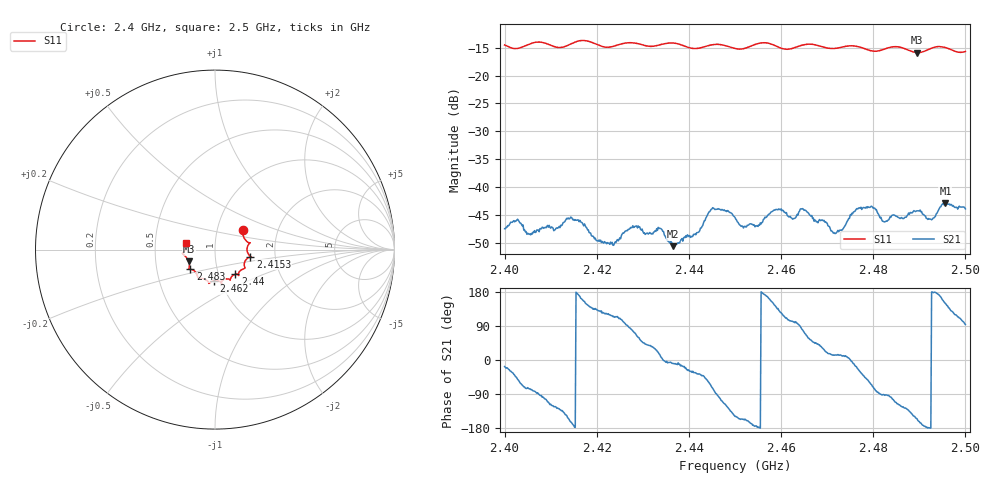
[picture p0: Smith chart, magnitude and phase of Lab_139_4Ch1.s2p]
# Hz S RI R 50
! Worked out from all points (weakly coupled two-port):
!   601 points, 2.4 GHz to 2.5 GHz, reference 50 ohm
!   highest |S21| = -42.94 dB at 2.4957 GHz (marker M1); lowest = -50.6 dB at 2.4365 GHz (marker M2)
!   lowest |S11| = -15.9 dB at 2.4895 GHz (marker M3), VSWR 1.38, Z = 36.9 - j5.01 ohm
!   |S11| at or under -10 dB: start of sweep to end of sweep
!   S12 and S22 are empty: the file has one direction only
!   S11 on the Smith chart (normalised r, x): 2.4 GHz: 1.33, +0.29; 2.4153 GHz: 1.48, -0.12; 2.44 GHz: 1.21, -0.34; 2.462 GHz: 0.93, -0.33; 2.483 GHz: 0.74, -0.17; 2.5 GHz: 0.72, +0.06
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2.4e9  0.1552 0.1066  0.00402 -0.00125  0 0  0 0
2.415333e9  0.1962 -0.0386  -0.00508 -0.000181  0 0  0 0
2.416667e9  0.2017 -0.0424  -0.00456 0.00149  0 0  0 0
2.423167e9  0.1631 -0.0781  -0.00141 0.00275  0 0  0 0
2.427833e9  0.1673 -0.1034  0.00104 0.00436  0 0  0 0
2.433333e9  0.1311 -0.1335  0.00406 0.0015  0 0  0 0
2.4365e9  0.1328 -0.1443  0.0029 -0.000455  0 0  0 0
2.44e9  0.1142 -0.1366  0.0032 -0.00159  0 0  0 0
2.445167e9  0.0846 -0.1693  0.00171 -0.00627  0 0  0 0
2.45e9  0.0645 -0.1628  -0.00455 -0.00274  0 0  0 0
2.452e9  0.044 -0.1691  -0.00409 -0.00164  0 0  0 0
2.459e9  0.0308 -0.1807  -0.00468 0.00417  0 0  0 0
2.462e9  -0.00514 -0.1734  -0.00125 0.00529  0 0  0 0
2.466667e9  -0.0343 -0.1877  0.00353 0.00427  0 0  0 0
2.471667e9  -0.0661 -0.1621  0.00371 0.000884  0 0  0 0
2.476833e9  -0.0958 -0.1539  0.0058 -0.00286  0 0  0 0
2.483e9  -0.1375 -0.1097  -0.000234 -0.00491  0 0  0 0
2.483333e9  -0.1401 -0.1094  -0.000297 -0.00505  0 0  0 0
2.4895e9  -0.1464 -0.066  -0.00553 -0.00257  0 0  0 0
2.492667e9  -0.1736 -0.0296  -0.00507 5.12e-05  0 0  0 0
2.495667e9  -0.1775 -0.0167  -0.00612 0.00365  0 0  0 0
2.5e9  -0.1596 0.0392  -0.000394 0.00634  0 0  0 0
